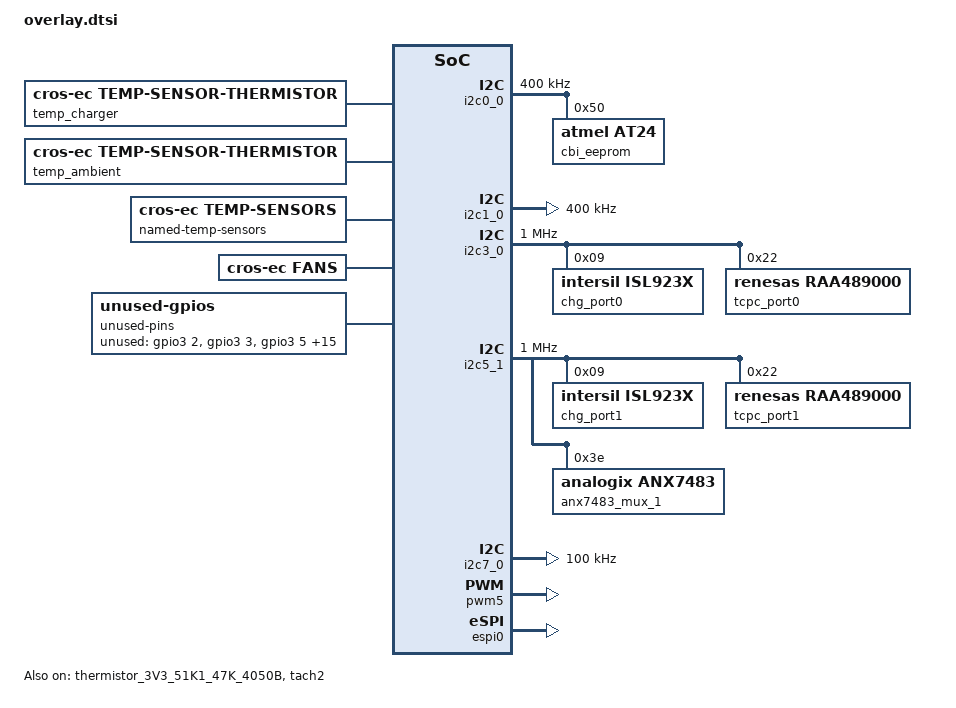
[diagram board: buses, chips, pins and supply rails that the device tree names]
/* Copyright 2024 The ChromiumOS Authors
 * Use of this source code is governed by a BSD-style license that can be
 * found in the LICENSE file.
 */

#include <cros/thermistor/thermistor.dtsi>
#include <dt-bindings/usbc_mux.h>
#include <dt-bindings/usb_pd_tcpm.h>

/ {
	aliases {
		gpio-cbi-wp = &gpio_ec_cbi_wp;
		gpio-wp = &gpio_ec_wp_odl;
		int-wp = &int_wp_l;
		gpio-kbd-kso2 = &gpio_ec_kso_02_inv;
	};

	ec-console {
		compatible = "ec-console";
		disabled = "events", "lpc", "hostcmd";
	};

	batteries {
		default_battery: lgc {
			compatible = "lgc,ap18c8k", "battery-smart";
		};
		lgc_ap19b8m {
			compatible = "lgc,ap19b8m", "battery-smart";
		};
	};

	hibernate-wake-pins {
		compatible = "cros-ec,hibernate-wake-pins";
		wakeup-irqs = <
			&int_power_button
			&int_lid_open
		>;
	};

	gpio-interrupts {
		compatible = "cros-ec,gpio-interrupts";

		int_power_button: power_button {
			irq-pin = <&gpio_gsc_ec_pwr_btn_odl>;
			flags = <GPIO_INT_EDGE_BOTH>;
			handler = "power_button_interrupt";
		};
		int_wp_l: wp_l {
			irq-pin = <&gpio_ec_wp_odl>;
			flags = <GPIO_INT_EDGE_BOTH>;
			handler = "switch_interrupt";
		};
		int_lid_open: lid_open {
			irq-pin = <&gpio_lid_open>;
			flags = <GPIO_INT_EDGE_BOTH>;
			handler = "lid_interrupt";
		};
		int_tablet_mode: tablet_mode {
			irq-pin = <&gpio_tablet_mode_l>;
			flags = <GPIO_INT_EDGE_BOTH>;
			handler = "gmr_tablet_switch_isr";
		};
		int_imu: ec_imu {
			irq-pin = <&gpio_imu_int_l>;
			flags = <GPIO_INT_EDGE_FALLING>;
			handler = "lsm6dso_interrupt";
		};
		int_vol_down: vol_down {
			irq-pin = <&gpio_voldn_btn_odl>;
			flags = <GPIO_INT_EDGE_BOTH>;
			handler = "button_interrupt";
		};
		int_vol_up: vol_up {
			irq-pin = <&gpio_volup_btn_odl>;
			flags = <GPIO_INT_EDGE_BOTH>;
			handler = "button_interrupt";
		};
		int_usb_c0: usb_c0 {
			irq-pin = <&gpio_usb_c0_int_odl>;
			flags = <GPIO_INT_EDGE_FALLING>;
			handler = "usb_interrupt";
		};
		int_usb_c1: usb_c1 {
			irq-pin = <&gpio_sb_1>;
			flags = <GPIO_INT_EDGE_FALLING>;
			handler = "usb_interrupt";
		};
	};

	named-gpios {
		gpio_sb_1: sb-1 {
			gpios = <&gpio0 2 GPIO_PULL_UP>;
			no-auto-init;
		};

		gpio_sb_2: sb-2 {
			gpios = <&gpiod 4 GPIO_OUTPUT>;
			no-auto-init;
		};

		/*
		 * Set I2C pins for type C sub-board to be low voltage (I2C5_1).
		 * We do this for all boards, since the pins are 3.3V tolerant,
		 * and the only 2 types of sub-boards used on nivviks both have
		 * type-C ports on them.
		 */
		gpio_sb_3: sb-3 {
			gpios = <&gpiof 4 (GPIO_OPEN_DRAIN | GPIO_VOLTAGE_1P8)>;
			no-auto-init;
		};
		gpio_sb_4: sb-4 {
			gpios = <&gpiof 5 (GPIO_INPUT | GPIO_VOLTAGE_1P8)>;
			no-auto-init;
		};
		gpio_fan_enable: fan-enable {
			gpios = <&gpio6 3 GPIO_OUTPUT>;
			no-auto-init;
		};
		ec-i2c-sensor-scl {
			gpios = <&gpio9 0 (GPIO_INPUT | GPIO_VOLTAGE_1P8)>;
		};
		ec-i2c-sensor-sda {
			gpios = <&gpio8 7 (GPIO_INPUT | GPIO_VOLTAGE_1P8)>;
		};
	};

	/*
	 * Aliases used for sub-board GPIOs.
	 */
	aliases {
		/*
		 * Input GPIO when used with type-C port 1
		 * Output when used with HDMI sub-board
		 */
		gpio-usb-c1-int-odl = &gpio_sb_1;
		gpio-en-rails-odl = &gpio_sb_1;
		/*
		 * Sub-board with type A USB, enable.
		 */
		gpio-en-usb-a1-vbus = &gpio_sb_2;
		/*
		 * HPD pins for HDMI sub-board.
		 */
		gpio-hdmi-en-odl = &gpio_sb_3;
		gpio-hpd-odl = &gpio_sb_4;
		/*
		 * Enable S5 rails for LTE sub-board
		 */
		gpio-en-sub-s5-rails = &gpio_sb_2;
	};

	temp_memory: memory {
		compatible = "cros-ec,temp-sensor-thermistor";
		thermistor = <&thermistor_3V3_51K1_47K_4050B>;
		adc = <&adc_temp_sensor_1>;
	};
	temp_charger: charger {
		compatible = "cros-ec,temp-sensor-thermistor";
		thermistor = <&thermistor_3V3_51K1_47K_4050B>;
		adc = <&adc_temp_sensor_2>;
	};
	temp_ambient: ambient {
		compatible = "cros-ec,temp-sensor-thermistor";
		thermistor = <&thermistor_3V3_51K1_47K_4050B>;
		adc = <&adc_temp_sensor_3>;
	};

	named-temp-sensors {
		compatible = "cros-ec,temp-sensors";
		memory {
			temp_fan_off = <35>;
			temp_fan_max = <60>;
			temp_host_high = <85>;
			temp_host_halt = <90>;
			temp_host_release_high = <80>;
			power-good-pin = <&gpio_ec_soc_dsw_pwrok>;
			sensor = <&temp_memory>;
		};
		charger {
			temp_fan_off = <35>;
			temp_fan_max = <60>;
			temp_host_high = <85>;
			temp_host_halt = <90>;
			temp_host_release_high = <80>;
			power-good-pin = <&gpio_ec_soc_dsw_pwrok>;
			sensor = <&temp_charger>;
		};
		ambient {
			temp_fan_off = <35>;
			temp_fan_max = <60>;
			temp_host_high = <85>;
			temp_host_halt = <90>;
			temp_host_release_high = <80>;
			power-good-pin = <&gpio_ec_soc_dsw_pwrok>;
			sensor = <&temp_ambient>;
		};
	};

	usba {
		compatible = "cros-ec,usba-port-enable-pins";
		/*
		 * sb_2 is only configured as GPIO when USB-A1 is present,
		 * but it's still safe to control when disabled.
		 *
		 * ILIM_SEL pins are referred to by legacy enum name,
		 * GPIO_USB*_ILIM_SEL. The one for port A1 is unused on
		 * sub-boards that don't have USB-A so is safe to control
		 * regardless of system configuration.
		 */
		enable-pins = <&gpio_en_usb_a0_vbus &gpio_sb_2>;
		status = "okay";
	};

	usbc {
		#address-cells = <1>;
		#size-cells = <0>;

		port0@0 {
			compatible = "named-usbc-port";
			reg = <0>;
			chg = <&chg_port0>;
			tcpc = <&tcpc_port0>;
			usb-mux-chain-0 {
				compatible = "cros-ec,usb-mux-chain";
				usb-muxes = <&virtual_mux_0>;
			};
		};
		port0-muxes {
			virtual_mux_0: virtual-mux-0 {
				compatible = "cros-ec,usbc-mux-virtual";
			};
		};
		/*
		 * TODO(b:211693800): port1 may not be present on some
		 * sub-boards.
		 */
		port1@1 {
			compatible = "named-usbc-port";
			reg = <1>;
			chg = <&chg_port1>;
			tcpc = <&tcpc_port1>;
			usb-mux-chain-1 {
				compatible = "cros-ec,usb-mux-chain";
				usb-muxes = <&virtual_mux_1 &anx7483_mux_1>;
			};
			usb_mux_chain_1_no_mux: usb-mux-chain-1-no-mux {
				compatible = "cros-ec,usb-mux-chain";
				alternative-chain;
				usb-muxes = <&virtual_mux_1>;
			};
		};
		port1-muxes {
			virtual_mux_1: virtual-mux-1 {
				compatible = "cros-ec,usbc-mux-virtual";
			};
		};
	};

	fans {
		compatible = "cros-ec,fans";

		fan_0 {
			pwms = <&pwm5 5 PWM_KHZ(1) PWM_POLARITY_NORMAL>;
			rpm_min = <2200>;
			rpm_start = <2200>;
			rpm_max = <4200>;
			tach = <&tach2>;
			enable_gpio = <&gpio_fan_enable>;
		};
	};

	 /*
	  * Declare unused GPIOs so that they are shut down
	  * and use minimal power
	  */
	  unused-pins {
		compatible = "unused-gpios";
		unused-gpios =
			<&gpio3 2 0>,
			<&gpio3 3 0>,
			<&gpio3 5 0>,
			<&gpio3 6 0>,
			<&gpio5 7 0>,
			<&gpio6 0 0>,
			<&gpio6 3 0>,
			<&gpio6 6 0>,
			<&gpio7 3 0>,
			<&gpio8 3 0>,
			<&gpio8 5 0>,
			<&gpio8 6 0>,
			<&gpiob 1 0>,
			<&gpiob 7 0>,
			<&gpioc 7 0>,
			<&gpiod 5 0>,
			<&gpiof 2 0>,
			<&gpiof 3 0>;
	 };
};

&thermistor_3V3_51K1_47K_4050B {
	status = "okay";
};

&adc_ec_vsense_pp3300_s5 {
	/*
	 * Voltage divider on input has 47k upper and 220k lower legs with
	 * 2714 mV full-scale reading on the ADC. Apply the largest possible
	 * multiplier (without overflowing int32) to get the best possible
	 * approximation of the actual ratio, but derate by a factor of two to
	 * ensure unexpectedly high values won't overflow.
	 */
	mul = <(791261 / 2)>;
	div = <(651975 / 2)>;
};

/* Set bus speeds for I2C */
&i2c0_0 {
	label = "I2C_EEPROM";
	clock-frequency = <I2C_BITRATE_FAST>;

	cbi_eeprom: eeprom@50 {
		compatible = "atmel,at24";
		reg = <0x50>;
		size = <2048>;
		pagesize = <16>;
		address-width = <8>;
		timeout = <5>;
	};
};

&i2c1_0 {
	label = "I2C_SENSOR";
	clock-frequency = <I2C_BITRATE_FAST>;
};

&i2c3_0 {
	label = "I2C_USB_C0_TCPC";
	clock-frequency = <I2C_BITRATE_FAST_PLUS>;

	chg_port0: isl923x@9 {
		compatible = "intersil,isl923x";
		status = "okay";
		reg = <0x9>;
	};

	tcpc_port0: raa489000@22 {
		compatible = "renesas,raa489000";
		reg = <0x22>;
		tcpc-flags = <(
			TCPC_FLAGS_TCPCI_REV2_0 |
			TCPC_FLAGS_VBUS_MONITOR)>;
	};
};

&i2c5_1 {
	label = "I2C_SUB_C1_TCPC";
	clock-frequency = <I2C_BITRATE_FAST_PLUS>;

	chg_port1: isl923x@9 {
		compatible = "intersil,isl923x";
		status = "okay";
		reg = <0x9>;
	};

	tcpc_port1: raa489000@22 {
		compatible = "renesas,raa489000";
		reg = <0x22>;
		tcpc-flags = <(
			TCPC_FLAGS_TCPCI_REV2_0 |
			TCPC_FLAGS_VBUS_MONITOR)>;
	};

	anx7483_mux_1: anx7483-mux-1@3e {
		compatible = "analogix,anx7483";
		reg = <0x3e>;
		board-set = "anx7483_set_default_tuning";
		flags = <USB_MUX_FLAG_RESETS_IN_G3>;
	};
};

&i2c7_0 {
	label = "I2C_BATTERY";
	clock-frequency = <I2C_BITRATE_STANDARD>;
};

&pwm5_gpb7 {
	drive-open-drain;
};

&pwm5 {
	status = "okay";
	clock-bus = "NPCX_CLOCK_BUS_LFCLK";
	pinctrl-0 = <&pwm5_gpb7>;
	pinctrl-names = "default";
};

/* Tachometer for fan speed measurement */
&tach2 {
	status = "okay";
	pinctrl-0 = <&ta2_1_in_gp73>;
	pinctrl-names = "default";
	port = <NPCX_TACH_PORT_A>; /* port-A is selected */
	sample-clk = <NPCX_TACH_FREQ_LFCLK>; /* Use LFCLK as sampling clock */
	pulses-per-round = <2>; /* number of pulses per round of encoder */
};

/* host interface */
&espi0 {
	status = "okay";
	pinctrl-0 = <&espi_lpc_gp46_47_51_52_53_54_55_57>;
	pinctrl-names = "default";
};

/*
 * Declare GPIOs that have leakage current caused by board issues here. NPCX ec
 * will disable their input buffers before entering deep sleep and restore them
 * after waking up automatically for better power consumption.
 */
&power_leakage_io {
	leak-gpios = <&gpioa 4 GPIO_OPEN_DRAIN
		      &gpiof 1 GPIO_OPEN_DRAIN>;
};
